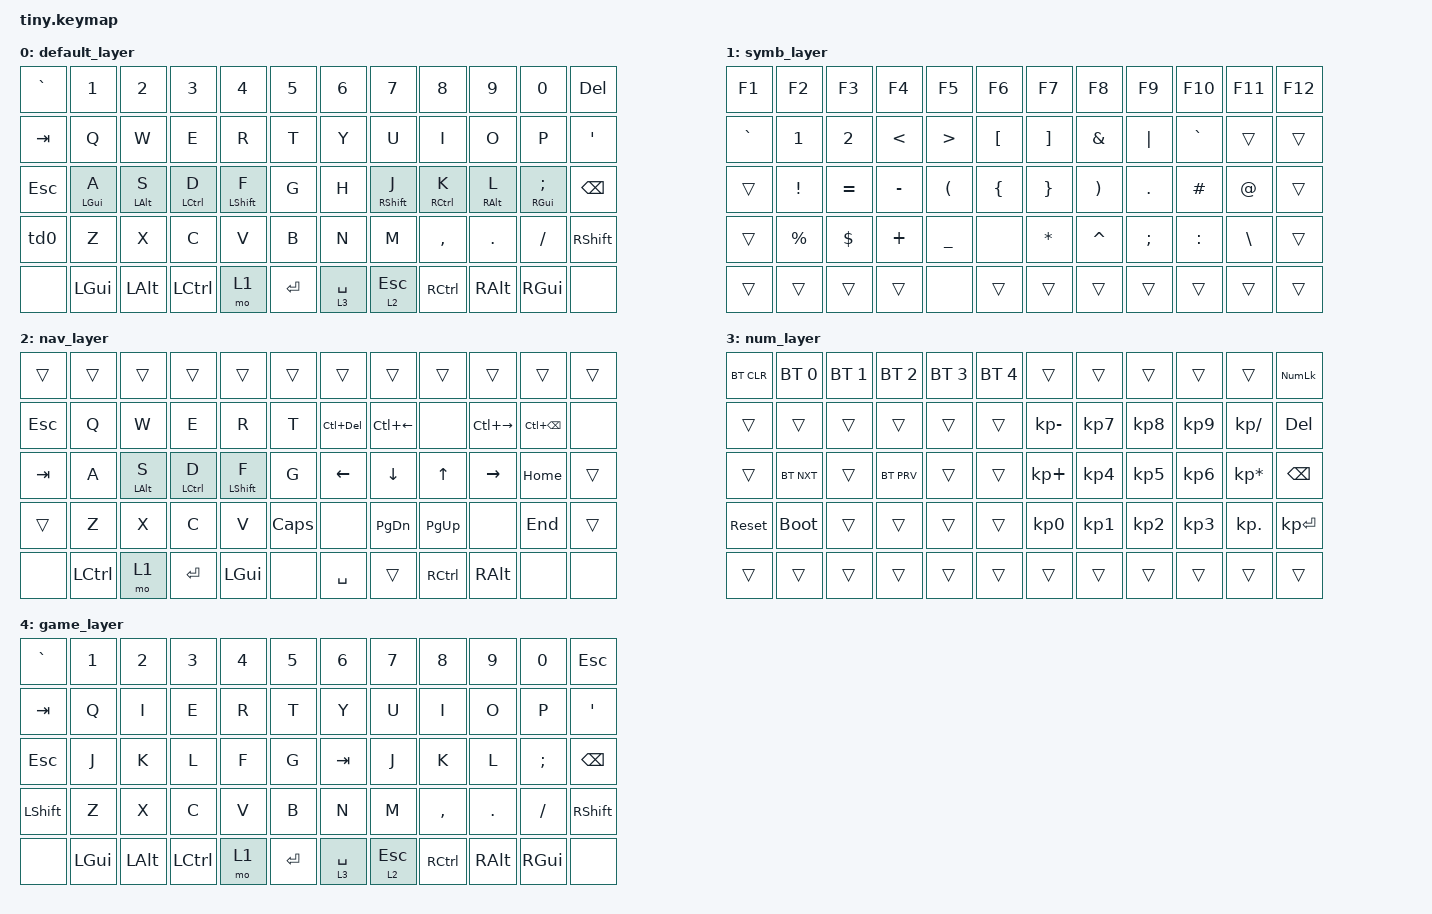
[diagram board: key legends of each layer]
#include <behaviors.dtsi>
#include <dt-bindings/zmk/keys.h>
#include <dt-bindings/zmk/bt.h>

&caps_word {
  continue-list = <UNDERSCORE MINUS SPACE BACKSPACE DELETE>;
};

/ {

    behaviors {
        hml: home_row_mod_left {
            compatible = "zmk,behavior-hold-tap";
            #binding-cells = <2>;
            flavor = "balanced";
            require-prior-idle-ms = <175>;
            tapping-term-ms = <280>;
            quick-tap-ms = <175>;
            bindings = <&kp>, <&kp>;
            /* hold-trigger-key-positions = <6 7 8 9 10 11 18 19 20 21 22 23 30 31 32 33 34 35 42 43 44 45 46 47 54 55 56 57 58 59>; */
            hold-trigger-on-release;
        };
        hmr: home_row_mod_right {
            compatible = "zmk,behavior-hold-tap";
            #binding-cells = <2>;
            flavor = "balanced";
            require-prior-idle-ms = <175>;
            tapping-term-ms = <280>;
            quick-tap-ms = <175>;
            bindings = <&kp>, <&kp>;
            /* hold-trigger-key-positions = <0 1 2 3 4 5 12 13 14 15 16 17 24 25 26 27 28 29 36 37 38 39 40 41 48 49 50 51 52 53>; */
            hold-trigger-on-release;
        };

        td0: tap_dance_0 {
            compatible = "zmk,behavior-tap-dance";
            #binding-cells = <0>;
            tapping-term-ms = <200>;
            bindings = <&sk LSHIFT>, <&caps_word>, <&kp N3>;
        };
    };
    combos {
        compatible = "zmk,combos";

        combo_l_paren {
            timeout-ms = <50>;
            key-positions = <27 28>;
            bindings = <&kp LPAR>;
            layers = <0>;
        };
        combo_r_paren {
            timeout-ms = <50>;
            key-positions = <31 32>;
            bindings = <&kp RPAR>;
            layers = <0>;
        };
        combo_l_brace {
            timeout-ms = <50>;
            key-positions = <26 27>;
            bindings = <&kp LBRC>;
            layers = <0>;
        };
        combo_r_brace {
            timeout-ms = <50>;
            key-positions = <32 33>;
            bindings = <&kp RBRC>;
            layers = <0>;
        };
        combo_l_bracket {
            timeout-ms = <50>;
            key-positions = <25 26>;
            bindings = <&kp LBKT>;
            layers = <0>;
        };
        combo_r_bracket {
            timeout-ms = <50>;
            key-positions = <33 34>;
            bindings = <&kp RBKT>;
            layers = <0>;
        };
        combo_eq {
            timeout-ms = <50>;
            key-positions = <40 41>;
            bindings = <&kp EQUAL>;
            layers = <0>;
        };
        combo_minus {
            timeout-ms = <50>;
            key-positions = <14 15>;
            bindings = <&kp MINUS>;
            layers = <0>;
        };
        combo_under {
            timeout-ms = <50>;
            key-positions = <15 16>;
            bindings = <&kp UNDER>;
            layers = <0>;
        };
        combo_quest {
            timeout-ms = <50>;
            key-positions = <19 20>;
            bindings = <&kp LS(FSLH)>;
            layers = <0>;
        };
        combo_plus {
            timeout-ms = <50>;
            key-positions = <20 21>;
            bindings = <&kp PLUS>;
            layers = <0>;
        };
    };


    keymap {
        compatible = "zmk,keymap";

        default_layer {
            // ` 1 2 3 4 5 6 7 8 9 0 DEL
            // TAB Q W E R T Y U I O P '
            // ESC A S(alt) D(ctrl) F(shift) G H J(shift) K(ctrl) L(alt) ; BSPC
            // SHIFT Z X C V B N M , . / SHIFT
            // GUI _ ALT CTRL SYMB ENT NUM/SPC NAV/ESC RCTRL RALT _ RGUI
            bindings = <
                &kp GRAVE  &kp N1        &kp N2      &kp N3       &kp N4       &kp N5   &kp N6        &kp N7       &kp N8       &kp N9      &kp N0         &kp DEL
                &kp TAB    &kp Q         &kp W       &kp E        &kp R        &kp T    &kp Y         &kp U        &kp I        &kp O       &kp P          &kp SQT
                &kp ESC    &hml LGUI A   &hml LALT S &hml LCTRL D &hml LSHFT F &kp G    &kp H         &hmr RSHFT J &hmr RCTRL K &hmr RALT L &hmr RGUI SEMI &kp BSPC
                &td0       &kp Z         &kp X       &kp C        &kp V        &kp B    &kp N         &kp M        &kp COMMA    &kp DOT     &kp FSLH       &kp RSHFT
                &none   &kp LGUI  &kp LALT    &kp LCTRL    &mo 1        &kp RET  &lt 3 SPACE   &lt 2 ESC    &kp RCTRL    &kp RALT    &kp RGUI       &none
            >;
        };

        symb_layer {
            // F1-F12 on top row, symbols on rows 2-4
            bindings = <
                &kp F1    &kp F2    &kp F3    &kp F4     &kp F5    &kp F6   &kp F7    &kp F8    &kp F9    &kp F10   &kp F11   &kp F12
                &kp GRAVE &kp N1    &kp N2    &kp LT     &kp GT    &kp LBKT &kp RBKT  &kp AMPS  &kp PIPE  &kp GRAVE &trans    &trans
                &trans    &kp EXCL  &kp EQUAL &kp MINUS  &kp LPAR  &kp LBRC &kp RBRC  &kp RPAR  &kp DOT   &kp HASH  &kp AT    &trans
                &trans    &kp PRCNT &kp DLLR  &kp PLUS   &kp UNDER &none    &kp ASTRK &kp CARET &kp SEMI  &kp COLON &kp BSLH  &trans
                &trans    &trans    &trans    &trans     &none     &trans   &trans    &trans    &trans    &trans    &trans    &trans
            >;
        };

        nav_layer {
            // Navigation: arrows, word jump, page up/down
            bindings = <
                &trans    &trans    &trans      &trans       &trans       &trans   &trans        &trans       &trans     &trans        &trans       &trans
                &kp ESC   &kp Q     &kp W       &kp E        &kp R        &kp T    &kp LC(DEL)   &kp LC(LEFT) &none      &kp LC(RIGHT) &kp LC(BSPC) &none
                &kp TAB   &kp A     &mt LALT S  &mt LCTRL D  &mt LSHFT F  &kp G    &kp LEFT      &kp DOWN     &kp UP     &kp RIGHT     &kp HOME     &trans
                &trans    &kp Z     &kp X       &kp C        &kp V        &kp CAPS &none         &kp PG_DN    &kp PG_UP  &none         &kp END      &trans
                &none     &kp LCTRL &mo 1       &kp RET      &kp LGUI     &none    &kp SPACE     &trans       &kp RCTRL  &kp RALT      &none        &none
            >;
        };

        num_layer {
            // Numpad right half; BT left half: ` = clear, 1/2/3/5 = profiles 0-3, A = next, D = prev
            bindings = <
                &bt BT_CLR &bt BT_SEL 0 &bt BT_SEL 1 &bt BT_SEL 2 &bt BT_SEL 3  &bt BT_SEL 4 &trans        &trans    &trans    &trans    &trans           &kp KP_NUM
                &trans     &trans        &trans        &trans        &trans     &trans        &kp KP_MINUS  &kp KP_N7 &kp KP_N8 &kp KP_N9 &kp KP_SLASH    &kp DEL
                &trans     &bt BT_NXT    &trans        &bt BT_PRV    &trans     &trans        &kp KP_PLUS   &kp KP_N4 &kp KP_N5 &kp KP_N6 &kp KP_MULTIPLY &kp BSPC
                &sys_reset &bootloader   &trans        &trans        &trans     &trans        &kp KP_N0     &kp KP_N1 &kp KP_N2 &kp KP_N3 &kp KP_DOT      &kp KP_ENTER
                &trans     &trans        &trans        &trans        &trans     &trans        &trans        &trans    &trans    &trans    &trans          &trans
            >;
        };

        game_layer {
            // Toggle with TAB+ESC; WASD→IJKL, top-right→ESC, H→TAB, no home row mods
            bindings = <
                &kp GRAVE  &kp N1    &kp N2    &kp N3    &kp N4    &kp N5   &kp N6       &kp N7    &kp N8    &kp N9    &kp N0    &kp ESC
                &kp TAB    &kp Q     &kp I     &kp E     &kp R     &kp T    &kp Y        &kp U     &kp I     &kp O     &kp P     &kp SQT
                &kp ESC    &kp J     &kp K     &kp L     &kp F     &kp G    &kp TAB      &kp J     &kp K     &kp L     &kp SEMI  &kp BSPC
                &kp LSHFT  &kp Z     &kp X     &kp C     &kp V     &kp B    &kp N        &kp M     &kp COMMA &kp DOT   &kp FSLH  &kp RSHFT
                &none      &kp LGUI  &kp LALT  &kp LCTRL &mo 1     &kp RET  &lt 3 SPACE  &lt 2 ESC &kp RCTRL &kp RALT  &kp RGUI  &none
            >;
        };
    };
};
